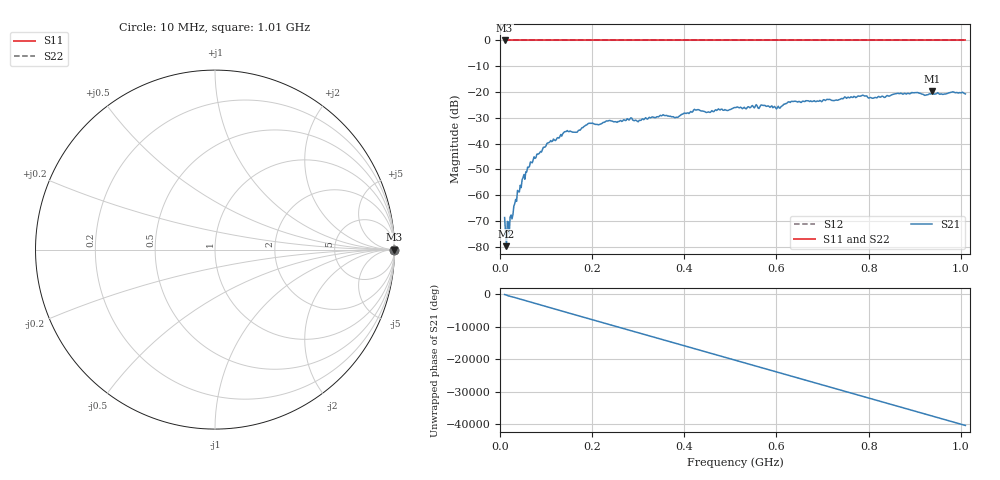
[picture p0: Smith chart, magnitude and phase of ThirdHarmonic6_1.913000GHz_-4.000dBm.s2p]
! 8/16/2025 11:04:22 PM
! C:\ANRITSUVNA\TEMP\TEMP.S2P
! CHANNEL.1
! TR.MEASUREMENT
! RAW.DATA
! RF.CORRECTION.OFF
! AVERAGING.OFF
! IF.BANDWIDTH: 5KHZ
! SWEEPTYPE:  FREQ.SWEEP(Linear)
! Reference Plane Port Info
! PORT:  PORT1  PORT2
! DISTANCE:  0  m  0  m
! TIME:  0  s  0  s
! PHASE.OFFSET:  0  deg.  0  deg.
! LOSS:  0  dB  0  dB
! REF.LOSS:  0  dB  0  dB
! REF.FREQ:  0  Hz  0  Hz
! Power Info
! POWER:  -20  dBm  -20  dBm
! EFF.POWER:  -20  dBm  -20  dBm
! SOURCE.ATTEN:  0  dB  0  dB
! TEST.ATTEN:  0  dB  0  dB
# GHZ S RI R 50.0
! FREQ.GHZ  S11RE  S11IM  S21RE  S21IM  S12RE  S12IM  S22RE  S22IM
!; PortSelection: Port_12
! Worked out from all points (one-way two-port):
!   501 points, 10 MHz to 1.01 GHz, reference 50 ohm
!   highest |S21| = -19.58 dB at 938 MHz (marker M1); lowest = -79.8 dB at 14 MHz (marker M2)
!   lowest |S11| = 0.0 dB at 10 MHz (marker M3)
!   |S11| at or under -10 dB: nowhere
!   |S22| runs from 0.0 to 0.0 dB; largest |S21 - S12| = 1.1
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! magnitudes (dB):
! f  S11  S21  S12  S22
! 10 MHz  0.0  -68.7  0.0  0.0
! 14 MHz  0.0  -79.8  0.0  0.0
! 16 MHz  0.0  -70.2  0.0  0.0
! 20 MHz  0.0  -75.1  0.0  0.0
! 24 MHz  0.0  -67.7  0.0  0.0
! 48 MHz  0.0  -54.0  0.0  0.0
! 70 MHz  0.0  -47.5  0.0  0.0
! 106 MHz  0.0  -39.6  0.0  0.0
! 142 MHz  0.0  -35.4  0.0  0.0
! 178 MHz  0.0  -33.9  0.0  0.0
! 196 MHz  0.0  -32.1  0.0  0.0
! 344 MHz  0.0  -29.7  0.0  0.0
! 382 MHz  0.0  -29.8  0.0  0.0
! 424 MHz  0.0  -27.0  0.0  0.0
! 452 MHz  0.0  -27.7  0.0  0.0
! 510 MHz  0.0  -26.0  0.0  0.0
! 604 MHz  0.0  -25.5  0.0  0.0
! 630 MHz  0.0  -24.0  0.0  0.0
! 678 MHz  0.0  -23.7  0.0  0.0
! 844 MHz  0.0  -21.6  0.0  0.0
! 938 MHz  0.0  -19.6  0.0  0.0
! 1.01 GHz  0.0  -20.7  0.0  0.0
